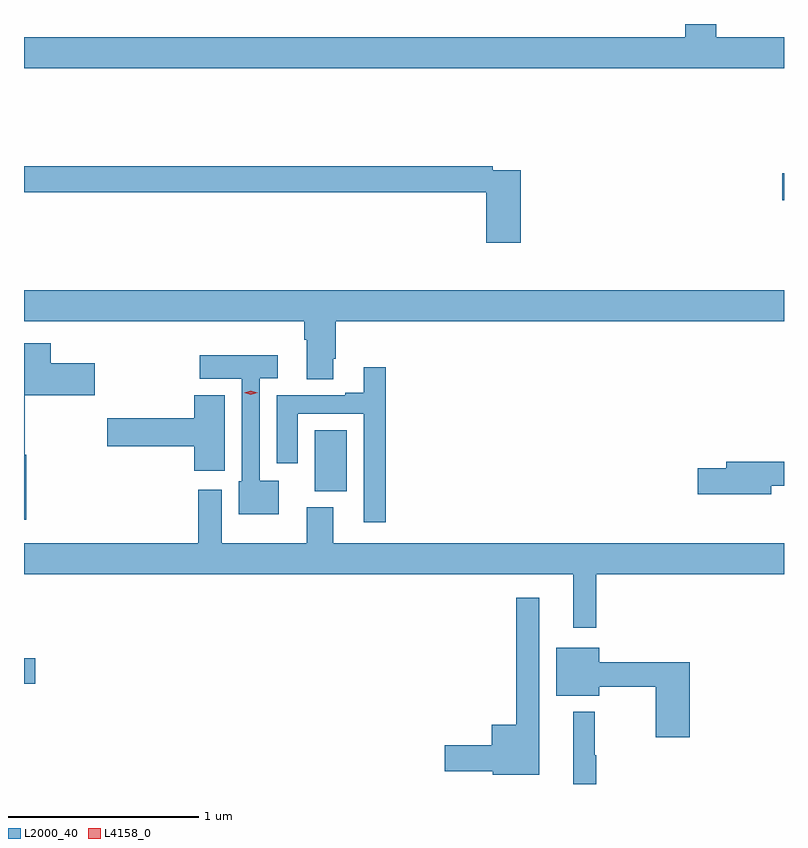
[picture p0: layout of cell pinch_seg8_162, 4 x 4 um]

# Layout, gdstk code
import gdstk
lib = gdstk.Library(unit=1e-6, precision=1e-09)
def R(c, l, rs):  # rectangles x0, y0, x1, y1
    for r in rs: c.add(gdstk.rectangle(r[:2], r[2:], *l))
def P(c, l, *ps):  # polygons
    for p in ps: c.add(gdstk.Polygon(p, *l))
L2000_40 = (2000, 40)
L4158_0 = (4158, 0)

pinch_seg8_162 = lib.new_cell('pinch_seg8_162')
R(pinch_seg8_162, L2000_40, [(657.294,1130.576,657.352,1130.71), (658.823,1131.59,658.993,1131.91), (661.284,1133.122,661.294,1133.264)])
P(pinch_seg8_162, L2000_40, [(661.294,1133.98),(660.938,1133.98),(660.938,1134.049),(660.773,1134.049),(660.773,1133.98),(657.294,1133.98),(657.294,1133.816),(661.294,1133.816)],
  [(659.909,1133.28),(659.762,1133.28),(659.762,1133.3),(657.294,1133.3),(657.294,1133.164),(659.726,1133.164),(659.726,1132.899),(659.909,1132.899)],
  [(658.921,1132.288),(658.934,1132.288),(658.934,1132.484),(661.294,1132.484),(661.294,1132.648),(657.294,1132.648),(657.294,1132.484),(658.769,1132.484),(658.769,1132.388),(658.781,1132.388),(658.781,1132.18),(658.921,1132.18)],
  [(657.307,1131.782),(657.299,1131.782),(657.299,1132.094),(657.667,1132.094),(657.667,1132.264),(657.436,1132.264),(657.436,1132.369),(657.294,1132.369),(657.294,1131.441),(657.307,1131.441)],
  [(658.636,1131.646),(658.536,1131.646),(658.536,1132.184),(658.63,1132.184),(658.63,1132.306),(658.22,1132.306),(658.22,1132.182),(658.44,1132.182),(658.44,1131.642),(658.424,1131.642),(658.424,1131.47),(658.636,1131.47)],
  [(659.198,1132.243),(659.081,1132.243),(659.081,1132.108),(658.985,1132.108),(658.985,1132.095),(658.625,1132.095),(658.625,1131.738),(658.735,1131.738),(658.735,1131.999),(659.082,1131.999),(659.082,1131.426),(659.198,1131.426)],
  [(658.351,1132.096),(658.19,1132.096),(658.19,1131.974),(657.732,1131.974),(657.732,1131.827),(658.19,1131.827),(658.19,1131.699),(658.351,1131.699)],
  [(661.228,1131.618),(661.294,1131.618),(661.294,1131.746),(660.989,1131.746),(660.989,1131.71),(660.84,1131.71),(660.84,1131.575),(661.228,1131.575)],
  [(660.307,1131.152),(661.294,1131.152),(661.294,1131.316),(658.921,1131.316),(658.921,1131.505),(658.781,1131.505),(658.781,1131.316),(658.336,1131.316),(658.336,1131.598),(658.211,1131.598),(658.211,1131.316),(657.294,1131.316),(657.294,1131.152),(660.185,1131.152),(660.185,1130.871),(660.307,1130.871)],
  [(660.007,1131.028),(659.886,1131.028),(659.886,1130.362),(659.756,1130.362),(659.756,1130.252),(659.508,1130.252),(659.508,1130.117),(659.76,1130.117),(659.76,1130.099),(660.007,1130.099)],
  [(660.797,1130.689),(660.322,1130.689),(660.322,1130.767),(660.095,1130.767),(660.095,1130.513),(660.322,1130.513),(660.322,1130.56),(660.619,1130.56),(660.619,1130.295),(660.797,1130.295)],
  [(660.307,1130.201),(660.299,1130.201),(660.299,1130.428),(660.185,1130.428),(660.185,1130.049),(660.307,1130.049)])
P(pinch_seg8_162, L4158_0, [(658.488,1132.098),(658.452,1132.107),(658.452,1132.108),(658.452,1132.108),(658.488,1132.118),(658.524,1132.109),(658.524,1132.109),(658.524,1132.109)])

lib.write_gds('pinch_seg8_162.gds')
